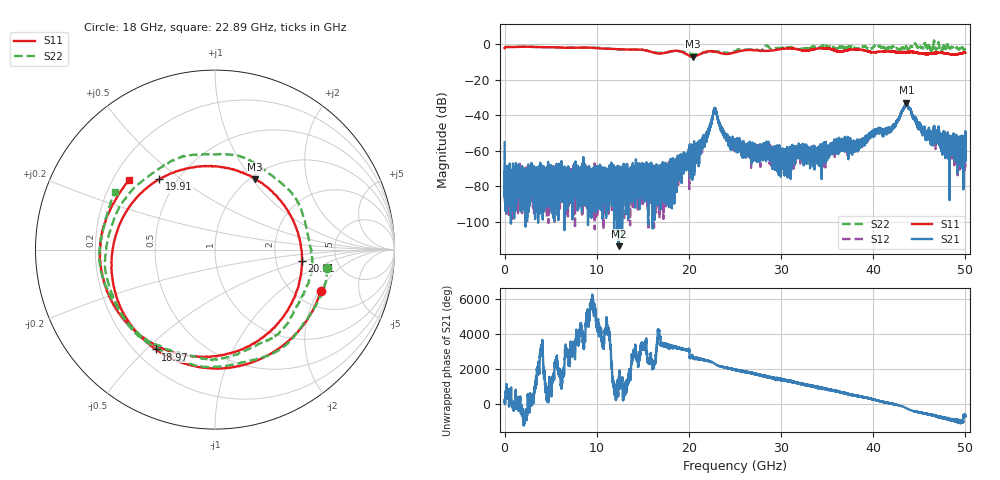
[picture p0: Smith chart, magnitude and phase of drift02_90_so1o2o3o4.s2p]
!Created with skrf (http://scikit-rf.org).
# Hz S RI R 50.0
!freq ReS11 ImS11 ReS21 ImS21 ReS12 ImS12 ReS22 ImS22
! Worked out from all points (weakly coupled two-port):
!   10001 points, 300 kHz to 50 GHz, reference 50 ohm
!   highest |S21| = -32.78 dB at 43.6 GHz (marker M1); lowest = -113.6 dB at 12.38 GHz (marker M2)
!   lowest |S11| = -6.9 dB at 20.4 GHz (marker M3), VSWR 2.64, Z = 52.7 + j51.8 ohm
!   |S11| at or under -10 dB: nowhere
!   |S22| runs from -5.7 to 2.2 dB; largest |S21 - S12| = 0.0033
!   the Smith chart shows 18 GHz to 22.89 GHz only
!   S11 on the Smith chart (normalised r, x): 18 GHz: 2.69, -2.08; 18.97 GHz: 0.28, -0.54; 19.91 GHz: 0.40, +0.42; 20.91 GHz: 2.82, -0.47; 22.89 GHz: 0.27, +0.33
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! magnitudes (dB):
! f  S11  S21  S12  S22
! 300 kHz  -2.1  -55.0  -60.1  -2.1
! 255.3 MHz  -1.4  -72.9  -76.1  -1.4
! 900.3 MHz  -1.5  -75.5  -83.3  -1.5
! 8.335 GHz  -1.7  -86.7  -80.0  -1.9
! 12.38 GHz  -2.7  -113.6  -85.0  -2.9
! 16.67 GHz  -5.2  -77.7  -80.4  -4.7
! 18 GHz  -4.0  -73.3  -74.5  -4.0
! 18.97 GHz  -3.8  -72.4  -68.6  -3.9
! 19.91 GHz  -6.0  -63.0  -65.0  -5.1
! 20.4 GHz  -6.9  -57.9  -60.4  -5.4
! 20.91 GHz  -6.2  -58.8  -61.1  -5.6
! 22.89 GHz  -4.2  -36.6  -36.6  -3.9
! 23.73 GHz  -5.3  -50.0  -49.9  -4.6
! 25 GHz  -4.4  -53.5  -56.6  -3.9
! 29.83 GHz  -2.8  -62.3  -64.4  -1.9
! 33.34 GHz  -3.0  -60.2  -61.4  -1.6
! 38.16 GHz  -2.7  -59.0  -55.6  -2.3
! 41.67 GHz  -3.9  -47.3  -47.6  -2.0
! 43.6 GHz  -4.2  -32.8  -33.4  -1.4
! 45.62 GHz  -5.4  -49.4  -48.5  0.3
! 49.66 GHz  -4.9  -52.6  -55.5  -1.7
! 50 GHz  -4.7  -63.5  -65.3  -2.6
